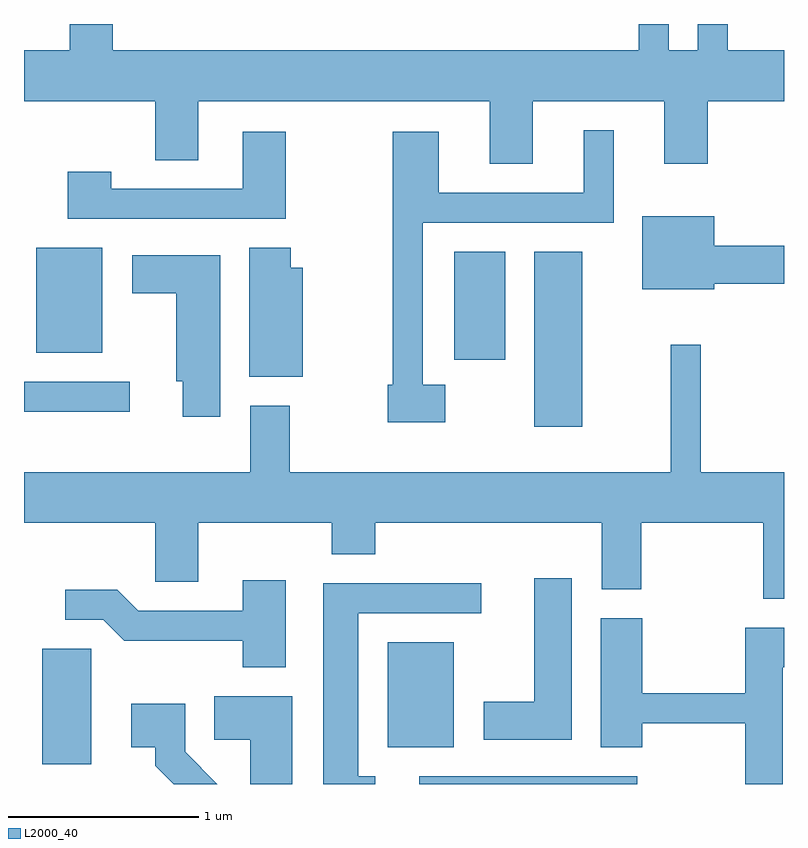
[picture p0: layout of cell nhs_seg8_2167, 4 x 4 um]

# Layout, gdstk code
import gdstk
lib = gdstk.Library(unit=1e-6, precision=1e-09)
def R(c, l, rs):  # rectangles x0, y0, x1, y1
    for r in rs: c.add(gdstk.rectangle(r[:2], r[2:], *l))
def P(c, l, *ps):  # polygons
    for p in ps: c.add(gdstk.Polygon(p, *l))
L2000_40 = (2000, 40)

nhs_seg8_2167 = lib.new_cell('nhs_seg8_2167')
R(nhs_seg8_2167, L2000_40, [(251.691,1868.342,252.839,1868.384), (249.706,1868.446,249.964,1869.054), (251.526,1868.536,251.874,1869.089), (252.296,1870.221,252.549,1871.144), (249.611,1870.301,250.168,1870.459), (251.876,1870.576,252.144,1871.144), (249.676,1870.611,250.024,1871.164)])
P(nhs_seg8_2167, L2000_40, [(252.289,1871.936),(252.981,1871.936),(252.981,1871.606),(253.209,1871.606),(253.209,1871.936),(253.611,1871.936),(253.611,1872.204),(253.314,1872.204),(253.314,1872.342),(253.156,1872.342),(253.156,1872.204),(253.004,1872.204),(253.004,1872.342),(252.846,1872.342),(252.846,1872.204),(250.079,1872.204),(250.079,1872.342),(249.851,1872.342),(249.851,1872.204),(249.611,1872.204),(249.611,1871.936),(250.301,1871.936),(250.301,1871.626),(250.529,1871.626),(250.529,1871.936),(252.061,1871.936),(252.061,1871.606),(252.289,1871.606)],
  [(251.829,1870.444),(251.709,1870.444),(251.709,1871.296),(252.714,1871.296),(252.714,1871.783),(252.556,1871.783),(252.556,1871.454),(251.794,1871.454),(251.794,1871.774),(251.551,1871.774),(251.551,1870.444),(251.526,1870.444),(251.526,1870.246),(251.829,1870.246)],
  [(250.989,1871.774),(250.761,1871.774),(250.761,1871.474),(250.069,1871.474),(250.069,1871.564),(249.841,1871.564),(249.841,1871.316),(250.989,1871.316)],
  [(253.244,1870.976),(253.611,1870.976),(253.611,1871.174),(253.244,1871.174),(253.244,1871.329),(252.866,1871.329),(252.866,1870.946),(253.244,1870.946)],
  [(251.079,1871.059),(251.014,1871.059),(251.014,1871.164),(250.796,1871.164),(250.796,1870.486),(251.079,1870.486)],
  [(250.644,1871.124),(250.181,1871.124),(250.181,1870.926),(250.411,1870.926),(250.411,1870.461),(250.446,1870.461),(250.446,1870.276),(250.644,1870.276)],
  [(253.611,1869.984),(253.174,1869.984),(253.174,1870.653),(253.016,1870.653),(253.016,1869.984),(251.009,1869.984),(251.009,1870.334),(250.801,1870.334),(250.801,1869.984),(249.611,1869.984),(249.611,1869.716),(250.301,1869.716),(250.301,1869.406),(250.529,1869.406),(250.529,1869.716),(251.231,1869.716),(251.231,1869.551),(251.459,1869.551),(251.459,1869.716),(252.651,1869.716),(252.651,1869.366),(252.859,1869.366),(252.859,1869.716),(253.501,1869.716),(253.501,1869.316),(253.611,1869.316)],
  [(252.494,1869.424),(252.296,1869.424),(252.296,1868.774),(252.031,1868.774),(252.031,1868.576),(252.494,1868.576)],
  [(250.989,1869.414),(250.761,1869.414),(250.761,1869.254),(250.212,1869.254),(250.102,1869.364),(249.828,1869.364),(249.828,1869.206),(250.029,1869.206),(250.139,1869.096),(250.761,1869.096),(250.761,1868.956),(250.989,1868.956)],
  [(251.459,1868.384),(251.369,1868.384),(251.369,1869.241),(252.018,1869.241),(252.018,1869.399),(251.186,1869.399),(251.186,1868.342),(251.459,1868.342)],
  [(253.604,1868.956),(253.611,1868.956),(253.611,1869.164),(253.406,1869.164),(253.406,1868.819),(252.864,1868.819),(252.864,1869.214),(252.646,1869.214),(252.646,1868.536),(252.864,1868.536),(252.864,1868.661),(253.406,1868.661),(253.406,1868.342),(253.604,1868.342)],
  [(251.024,1868.804),(250.611,1868.804),(250.611,1868.576),(250.801,1868.576),(250.801,1868.342),(251.024,1868.342)],
  [(250.459,1868.512),(250.459,1868.764),(250.176,1868.764),(250.176,1868.536),(250.301,1868.536),(250.301,1868.439),(250.398,1868.342),(250.629,1868.342)])

lib.write_gds('nhs_seg8_2167.gds')
